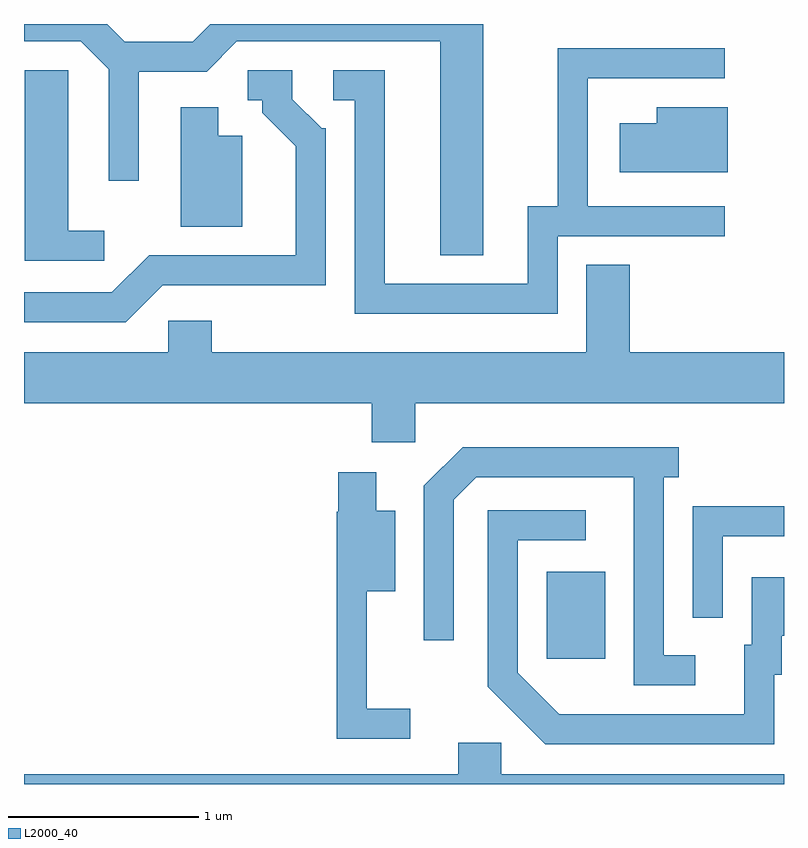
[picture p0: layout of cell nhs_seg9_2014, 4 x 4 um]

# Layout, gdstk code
import gdstk
lib = gdstk.Library(unit=1e-6, precision=1e-09)
def R(c, l, rs):  # rectangles x0, y0, x1, y1
    for r in rs: c.add(gdstk.rectangle(r[:2], r[2:], *l))
def P(c, l, *ps):  # polygons
    for p in ps: c.add(gdstk.Polygon(p, *l))
L2000_40 = (2000, 40)

nhs_seg9_2014 = lib.new_cell('nhs_seg9_2014')
R(nhs_seg9_2014, L2000_40, [(246.361,2037.091,246.669,2037.549)])
P(nhs_seg9_2014, L2000_40, [(246.029,2040.432),(244.592,2040.432),(244.499,2040.339),(244.142,2040.339),(244.049,2040.432),(243.611,2040.432),(243.611,2040.341),(243.909,2040.341),(244.056,2040.194),(244.056,2039.608),(244.214,2039.608),(244.214,2040.181),(244.572,2040.181),(244.732,2040.341),(245.801,2040.341),(245.801,2039.216),(246.029,2039.216)],
  [(246.419,2039.316),(247.298,2039.316),(247.298,2039.474),(246.579,2039.474),(246.579,2040.146),(247.298,2040.146),(247.298,2040.304),(246.421,2040.304),(246.421,2039.474),(246.261,2039.474),(246.261,2039.064),(245.509,2039.064),(245.509,2040.189),(245.238,2040.189),(245.238,2040.031),(245.351,2040.031),(245.351,2038.906),(246.419,2038.906)],
  [(244.033,2039.344),(243.844,2039.344),(243.844,2040.189),(243.616,2040.189),(243.616,2039.186),(244.033,2039.186)],
  [(244.342,2039.056),(245.199,2039.056),(245.199,2039.884),(245.177,2039.884),(245.024,2040.037),(245.024,2040.189),(244.788,2040.189),(244.788,2040.031),(244.866,2040.031),(244.866,2039.964),(245.041,2039.789),(245.041,2039.214),(244.269,2039.214),(244.074,2039.019),(243.611,2039.019),(243.611,2038.861),(244.147,2038.861)],
  [(247.314,2039.994),(246.941,2039.994),(246.941,2039.909),(246.746,2039.909),(246.746,2039.651),(247.314,2039.651)],
  [(244.759,2039.844),(244.634,2039.844),(244.634,2039.994),(244.436,2039.994),(244.436,2039.366),(244.759,2039.366)],
  [(245.669,2038.436),(247.611,2038.436),(247.611,2038.704),(246.799,2038.704),(246.799,2039.164),(246.571,2039.164),(246.571,2038.704),(244.599,2038.704),(244.599,2038.869),(244.371,2038.869),(244.371,2038.704),(243.611,2038.704),(243.611,2038.436),(245.441,2038.436),(245.441,2038.231),(245.669,2038.231)],
  [(247.143,2037.109),(246.979,2037.109),(246.979,2038.046),(247.058,2038.046),(247.058,2038.204),(245.919,2038.204),(245.716,2038.002),(245.716,2037.188),(245.874,2037.188),(245.874,2037.929),(245.992,2038.046),(246.821,2038.046),(246.821,2036.951),(247.143,2036.951)],
  [(245.643,2036.829),(245.414,2036.829),(245.414,2037.446),(245.564,2037.446),(245.564,2037.869),(245.464,2037.869),(245.464,2038.074),(245.266,2038.074),(245.266,2037.865),(245.256,2037.865),(245.256,2036.671),(245.643,2036.671)],
  [(247.289,2037.736),(247.611,2037.736),(247.611,2037.894),(247.131,2037.894),(247.131,2037.308),(247.289,2037.308)],
  [(247.559,2037.006),(247.599,2037.006),(247.599,2037.211),(247.611,2037.211),(247.611,2037.519),(247.441,2037.519),(247.441,2037.164),(247.401,2037.164),(247.401,2036.799),(246.427,2036.799),(246.209,2037.017),(246.209,2037.716),(246.568,2037.716),(246.568,2037.874),(246.051,2037.874),(246.051,2036.944),(246.354,2036.641),(247.559,2036.641)],
  [(247.611,2036.484),(246.124,2036.484),(246.124,2036.649),(245.896,2036.649),(245.896,2036.484),(243.611,2036.484),(243.611,2036.432),(247.611,2036.432)])

lib.write_gds('nhs_seg9_2014.gds')
